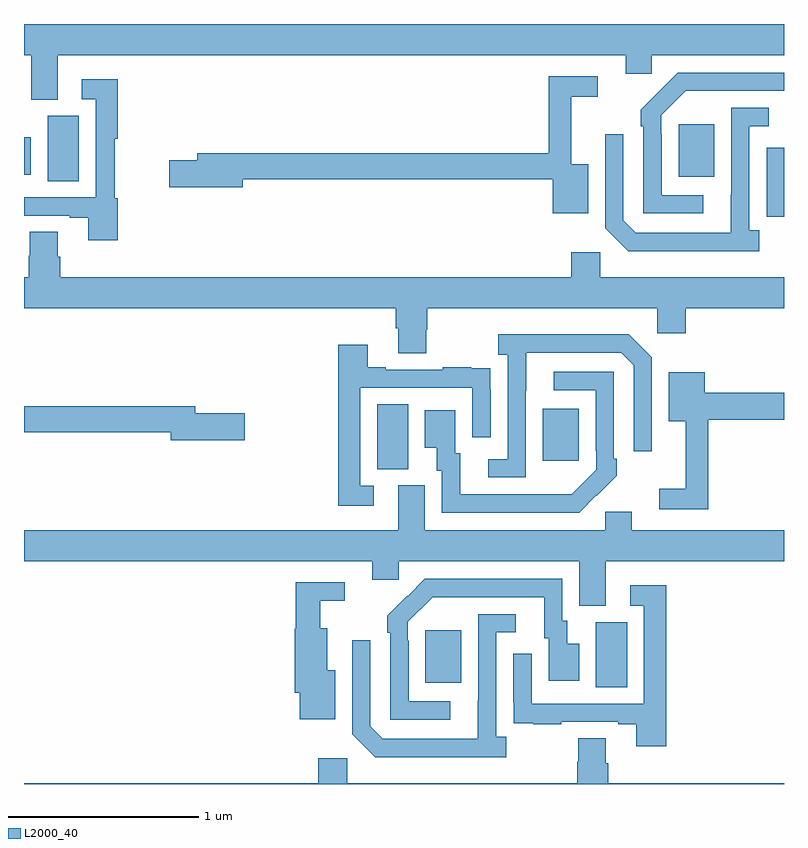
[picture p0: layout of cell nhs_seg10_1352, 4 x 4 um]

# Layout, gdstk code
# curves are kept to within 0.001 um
import gdstk
lib = gdstk.Library(unit=1e-6, precision=1e-09)
def R(c, l, rs):  # rectangles x0, y0, x1, y1
    for r in rs: c.add(gdstk.rectangle(r[:2], r[2:], *l))
def P(c, l, *ps):  # polygons
    for p in ps: c.add(gdstk.Polygon(p, *l))
L2000_40 = (2000, 40)

nhs_seg10_1352 = lib.new_cell('nhs_seg10_1352')
R(nhs_seg10_1352, L2000_40, [(184.01,1277.008,184.174,1277.352), (183.113,1277.033,183.301,1277.308), (182.858,1278.157,183.022,1278.5), (183.731,1278.201,183.919,1278.475), (181.124,1279.672,181.288,1280.016), (184.445,1279.697,184.633,1279.972), (181,1279.707,181.036,1279.903)])
P(nhs_seg10_1352, L2000_40, [(181.177,1280.336),(184.166,1280.336),(184.166,1280.238),(184.305,1280.238),(184.305,1280.336),(185,1280.336),(185,1280.5),(181,1280.5),(181,1280.336),(181.037,1280.336),(181.037,1280.101),(181.177,1280.101)],
  [(184.576,1279.599),(184.356,1279.599),(184.356,1279.919),(184.353,1279.919),(184.353,1280.019),(184.482,1280.148),(185,1280.148),(185,1280.244),(184.442,1280.244),(184.245,1280.049),(184.245,1279.961),(184.26,1279.961),(184.26,1279.503),(184.576,1279.503)],
  [(183.97,1279.762),(183.881,1279.762),(183.881,1280.118),(184.021,1280.118),(184.021,1280.226),(183.763,1280.226),(183.763,1279.82),(181.913,1279.82),(181.913,1279.784),(181.764,1279.784),(181.764,1279.642),(182.152,1279.642),(182.152,1279.684),(183.783,1279.684),(183.783,1279.505),(183.97,1279.505)],
  [(181.493,1279.584),(181.478,1279.584),(181.478,1279.896),(181.493,1279.896),(181.493,1280.209),(181.305,1280.209),(181.305,1280.103),(181.377,1280.103),(181.377,1279.587),(181,1279.587),(181,1279.491),(181.241,1279.491),(181.241,1279.479),(181.337,1279.479),(181.337,1279.362),(181.493,1279.362)],
  [(184.87,1279.414),(184.818,1279.414),(184.818,1279.962),(184.921,1279.962),(184.921,1280.058),(184.722,1280.058),(184.721,1279.401),(184.221,1279.401),(184.155,1279.467),(184.155,1279.921),(184.059,1279.921),(184.059,1279.425),(184.18,1279.304),(184.87,1279.304)],
  [(185,1279.849),(184.908,1279.849),(184.908,1279.594),(184.909,1279.594),(184.909,1279.485),(185,1279.485)],
  [(183.117,1278.891),(183.122,1278.891),(183.122,1279.004),(184.332,1279.004),(184.332,1278.873),(184.484,1278.873),(184.484,1279.004),(185,1279.004),(185,1279.168),(184.032,1279.168),(184.032,1279.3),(183.881,1279.3),(183.881,1279.168),(181.19,1279.168),(181.19,1279.274),(181.177,1279.274),(181.177,1279.406),(181.03,1279.406),(181.03,1279.281),(181.025,1279.281),(181.025,1279.168),(181,1279.168),(181,1279.004),(182.957,1279.004),(182.957,1278.898),(182.969,1278.898),(182.969,1278.766),(183.117,1278.766)],
  [(183.642,1278.571),(183.643,1278.771),(184.143,1278.771),(184.209,1278.705),(184.209,1278.252),(184.305,1278.252),(184.305,1278.747),(184.184,1278.868),(183.495,1278.868),(183.495,1278.758),(183.546,1278.758),(183.546,1278.21),(183.444,1278.21),(183.444,1278.114),(183.642,1278.114)],
  [(182.842,1278.069),(182.769,1278.069),(182.769,1278.585),(183.36,1278.585),(183.36,1278.324),(183.456,1278.324),(183.456,1278.578),(183.455,1278.578),(183.455,1278.687),(183.353,1278.687),(183.353,1278.694),(183.205,1278.694),(183.205,1278.681),(182.905,1278.681),(182.905,1278.694),(182.809,1278.694),(182.809,1278.811),(182.653,1278.811),(182.653,1277.964),(182.842,1277.964)],
  [(184.013,1278.019),(184.014,1278.018),(184.119,1278.123),(184.119,1278.211),(184.104,1278.211),(184.104,1278.669),(183.789,1278.669),(183.789,1278.573),(184.008,1278.573),(184.008,1278.253),(184.011,1278.253),(184.011,1278.153),(183.883,1278.025),(183.295,1278.024),(183.295,1278.24),(183.271,1278.24),(183.271,1278.466),(183.11,1278.466),(183.11,1278.269),(183.173,1278.269),(183.173,1278.15),(183.198,1278.15),(183.198,1277.928),(183.922,1277.928)],
  [(184.601,1278.416),(185,1278.416),(185,1278.558),(184.582,1278.558),(184.582,1278.667),(184.394,1278.667),(184.394,1278.41),(184.484,1278.41),(184.484,1278.055),(184.344,1278.055),(184.344,1277.946),(184.601,1277.946)],
  [(182.161,1278.452),(181.9,1278.452),(181.9,1278.488),(181,1278.488),(181,1278.352),(181.772,1278.352),(181.772,1278.31),(182.161,1278.31)],
  [(184.063,1277.672),(185,1277.672),(185,1277.836),(184.198,1277.836),(184.198,1277.934),(184.059,1277.934),(184.059,1277.836),(183.109,1277.836),(183.109,1278.072),(182.969,1278.072),(182.969,1277.836),(181,1277.836),(181,1277.672),(182.834,1277.672),(182.834,1277.574),(182.973,1277.574),(182.973,1277.672),(183.923,1277.672),(183.923,1277.437),(184.063,1277.437)],
  [(183.244,1276.935),(183.024,1276.935),(183.024,1277.255),(183.021,1277.255),(183.021,1277.355),(183.15,1277.484),(183.737,1277.484),(183.737,1277.268),(183.761,1277.268),(183.761,1277.043),(183.922,1277.043),(183.922,1277.239),(183.859,1277.239),(183.859,1277.358),(183.834,1277.358),(183.834,1277.58),(183.11,1277.58),(182.913,1277.385),(182.913,1277.297),(182.928,1277.297),(182.928,1276.839),(183.244,1276.839)],
  [(182.638,1277.098),(182.596,1277.098),(182.596,1277.32),(182.56,1277.32),(182.56,1277.465),(182.689,1277.465),(182.689,1277.562),(182.431,1277.562),(182.431,1277.316),(182.426,1277.316),(182.426,1276.98),(182.45,1276.98),(182.45,1276.841),(182.638,1276.841)],
  [(184.379,1277.545),(184.191,1277.545),(184.191,1277.439),(184.263,1277.439),(184.263,1276.923),(183.672,1276.923),(183.672,1277.185),(183.576,1277.185),(183.576,1276.93),(183.577,1276.93),(183.577,1276.821),(183.679,1276.821),(183.679,1276.815),(183.827,1276.815),(183.827,1276.827),(184.127,1276.827),(184.127,1276.815),(184.223,1276.815),(184.223,1276.698),(184.379,1276.698)],
  [(183.538,1276.75),(183.486,1276.75),(183.486,1277.298),(183.589,1277.298),(183.589,1277.394),(183.39,1277.394),(183.389,1276.737),(182.889,1276.737),(182.823,1276.803),(182.823,1277.257),(182.727,1277.257),(182.727,1276.761),(182.848,1276.64),(183.538,1276.64)],
  [(185,1276.504),(184.076,1276.504),(184.076,1276.61),(184.063,1276.61),(184.063,1276.742),(183.916,1276.742),(183.916,1276.617),(183.911,1276.617),(183.911,1276.504),(182.7,1276.504),(182.7,1276.636),(182.549,1276.636),(182.549,1276.504),(181,1276.504),(181,1276.5),(185,1276.5)])

lib.write_gds('nhs_seg10_1352.gds')
